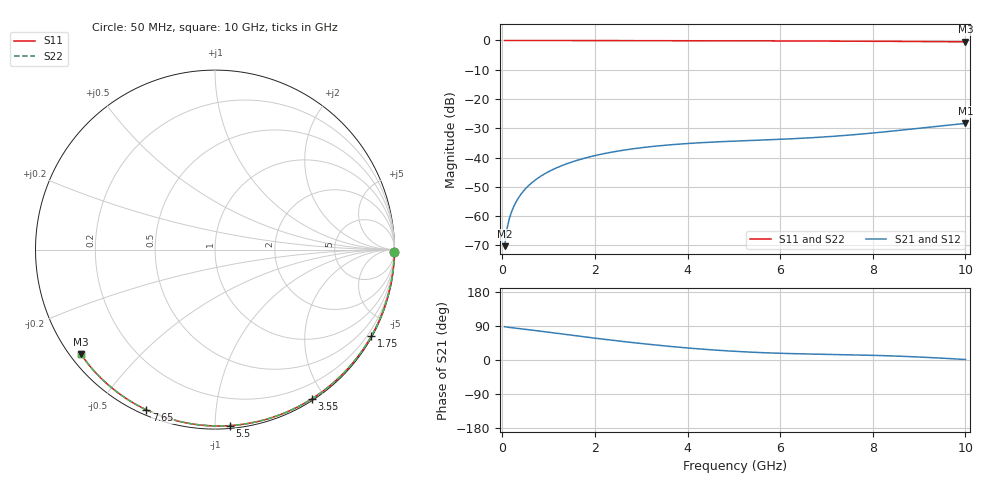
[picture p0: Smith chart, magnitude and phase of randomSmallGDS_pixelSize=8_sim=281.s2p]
! freq	dB(S11)	phase(S11)	dB(S12)	phase(S12)
!  dB(S21)	phase(S21)	dB(S22)	phase(S22)
!S-par simulation data
#  GHz  S  DB  R 50
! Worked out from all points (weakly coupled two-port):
!   200 points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, 50 MHz to 10 GHz, reference 50 ohm
!   highest |S21| = -28.33 dB at 10 GHz (marker M1); lowest = -70.3 dB at 50 MHz (marker M2)
!   lowest |S11| = -0.5 dB at 10 GHz (marker M3), VSWR 36.95, Z = 1.51 - j17.2 ohm
!   |S11| at or under -10 dB: nowhere
!   |S22| runs from -0.5 to 0.0 dB; largest |S21 - S12| = 0
!   S11 on the Smith chart (normalised r, x): 50 MHz: open; 1.75 GHz: 0.03, -3.88; 3.55 GHz: 0.02, -1.84; 5.5 GHz: 0.02, -1.09; 7.65 GHz: 0.02, -0.66; 10 GHz: 0.03, -0.34
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0.05  -0.00 -0.8  -70.29 87.9  -70.29 87.9  -0.00 -0.8
0.1  -0.00 -1.7  -64.42 86.7  -64.42 86.7  -0.00 -1.7
0.15  -0.00 -2.5  -60.99 86.0  -60.99 86.0  -0.00 -2.5
0.2  -0.00 -3.4  -58.54 85.4  -58.54 85.4  -0.00 -3.4
0.25  -0.00 -4.2  -56.64 84.8  -56.64 84.8  -0.00 -4.2
0.35  -0.00 -5.9  -53.76 83.4  -53.76 83.4  -0.00 -5.9
0.5  -0.01 -8.4  -50.70 81.1  -50.70 81.1  -0.01 -8.4
0.7  -0.01 -11.7  -47.83 78.0  -47.83 78.0  -0.01 -11.7
1  -0.02 -16.7  -44.83 73.2  -44.83 73.2  -0.02 -16.7
1.35  -0.03 -22.4  -42.37 67.7  -42.37 67.7  -0.03 -22.4
1.75  -0.04 -28.9  -40.34 61.4  -40.34 61.4  -0.04 -28.9
2.5  -0.05 -40.8  -37.79 50.3  -37.79 50.3  -0.05 -40.9
3.4  -0.07 -54.8  -35.97 38.5  -35.97 38.5  -0.07 -54.8
3.55  -0.08 -57.0  -35.76 36.7  -35.76 36.7  -0.08 -57.0
4.3  -0.10 -68.1  -34.93 28.8  -34.93 28.8  -0.10 -68.2
5.05  -0.12 -78.8  -34.37 22.7  -34.37 22.7  -0.12 -78.9
5.5  -0.14 -85.1  -34.09 20.0  -34.09 20.0  -0.14 -85.1
6.7  -0.19 -101.1  -33.22 15.6  -33.22 15.6  -0.19 -101.1
7.65  -0.25 -113.2  -32.12 13.4  -32.12 13.4  -0.25 -113.3
8.35  -0.31 -121.9  -31.08 11.0  -31.08 11.0  -0.31 -122.0
9.2  -0.38 -132.3  -29.68 6.7  -29.68 6.7  -0.38 -132.4
10  -0.47 -142.0  -28.33 1.3  -28.33 1.3  -0.47 -142.1
